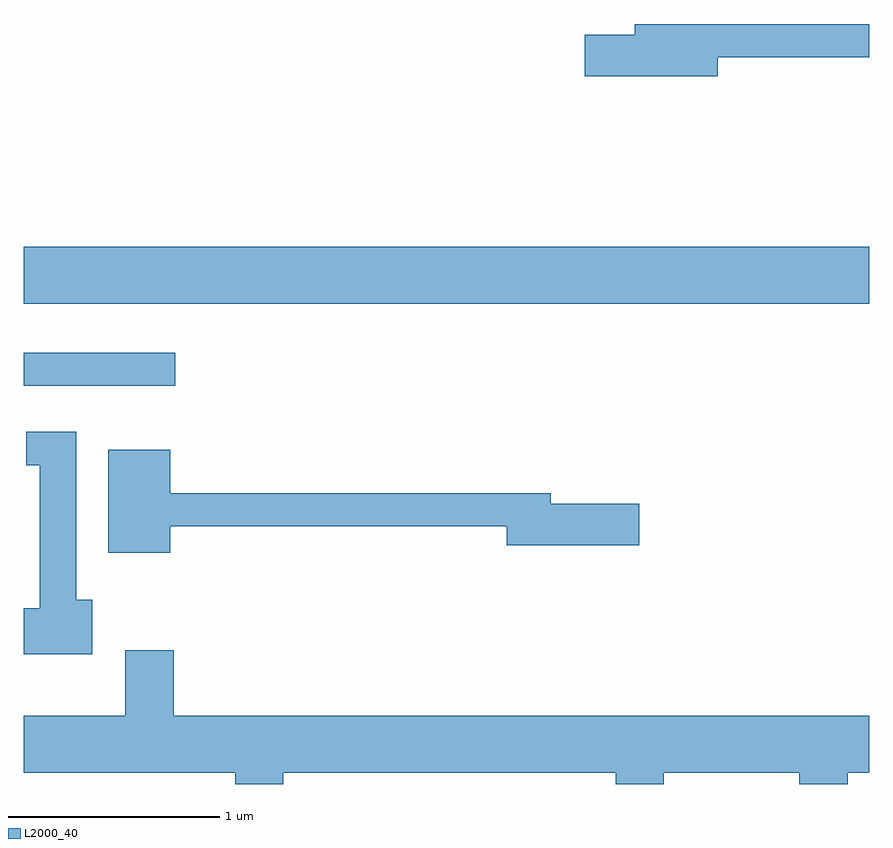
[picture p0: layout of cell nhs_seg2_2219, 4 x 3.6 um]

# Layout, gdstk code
import gdstk
lib = gdstk.Library(unit=1e-6, precision=1e-09)
def R(c, l, rs):  # rectangles x0, y0, x1, y1
    for r in rs: c.add(gdstk.rectangle(r[:2], r[2:], *l))
def P(c, l, *ps):  # polygons
    for p in ps: c.add(gdstk.Polygon(p, *l))
L2000_40 = (2000, 40)

nhs_seg2_2219 = lib.new_cell('nhs_seg2_2219')
R(nhs_seg2_2219, L2000_40, [(249.611,1065.686,250.328,1065.844), (249.611,1066.076,253.611,1066.344)])
P(nhs_seg2_2219, L2000_40, [(252.894,1067.241),(253.611,1067.241),(253.611,1067.399),(252.501,1067.399),(252.501,1067.349),(252.266,1067.349),(252.266,1067.151),(252.894,1067.151)],
  [(249.934,1064.674),(249.859,1064.674),(249.859,1065.469),(249.623,1065.469),(249.623,1065.311),(249.686,1065.311),(249.686,1064.634),(249.611,1064.634),(249.611,1064.416),(249.934,1064.416)],
  [(250.304,1065.021),(251.896,1065.021),(251.896,1064.931),(252.524,1064.931),(252.524,1065.129),(252.104,1065.129),(252.104,1065.179),(250.304,1065.179),(250.304,1065.384),(250.011,1065.384),(250.011,1064.896),(250.304,1064.896)],
  [(250.839,1063.856),(252.411,1063.856),(252.411,1063.802),(252.639,1063.802),(252.639,1063.856),(253.281,1063.856),(253.281,1063.802),(253.509,1063.802),(253.509,1063.856),(253.611,1063.856),(253.611,1064.124),(250.319,1064.124),(250.319,1064.434),(250.091,1064.434),(250.091,1064.124),(249.611,1064.124),(249.611,1063.856),(250.611,1063.856),(250.611,1063.802),(250.839,1063.802)])

lib.write_gds('nhs_seg2_2219.gds')
